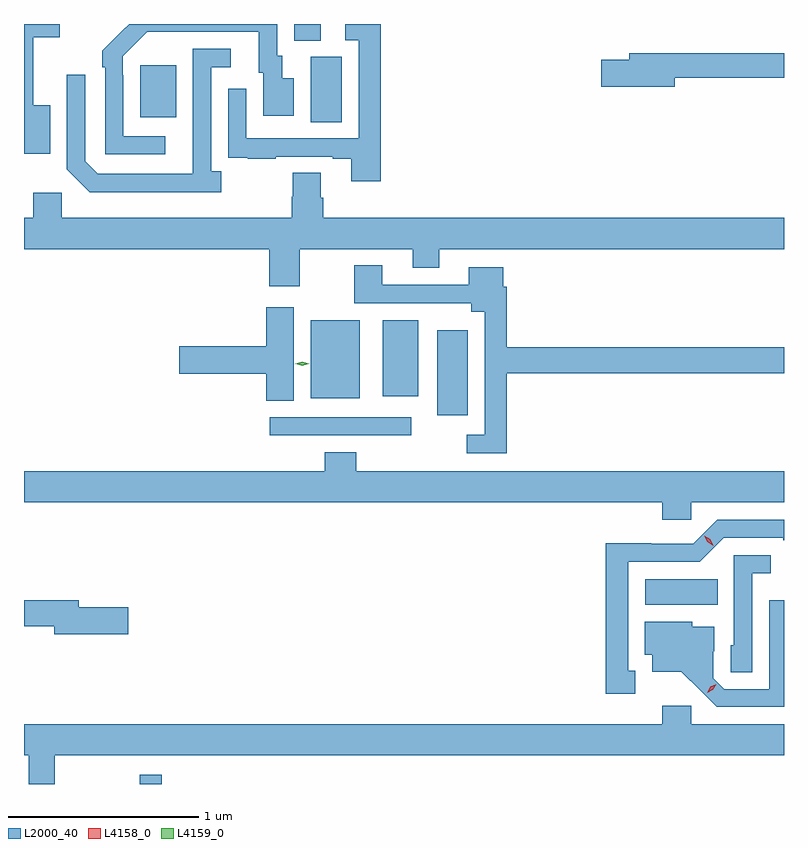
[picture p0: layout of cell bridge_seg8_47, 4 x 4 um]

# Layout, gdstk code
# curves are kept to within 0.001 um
import gdstk
lib = gdstk.Library(unit=1e-6, precision=1e-09)
def R(c, l, rs):  # rectangles x0, y0, x1, y1
    for r in rs: c.add(gdstk.rectangle(r[:2], r[2:], *l))
def P(c, l, *ps):  # polygons
    for p in ps: c.add(gdstk.Polygon(p, *l))
L2000_40 = (2000, 40)
L4158_0 = (4158, 0)
L4159_0 = (4159, 0)

bridge_seg8_47 = lib.new_cell('bridge_seg8_47')
R(bridge_seg8_47, L2000_40, [(1036.257,1105.693,1036.373,1105.741), (1038.918,1106.636,1039.298,1106.77), (1036.941,1107.528,1037.686,1107.624), (1037.822,1107.633,1037.983,1108.081), (1037.156,1107.722,1037.413,1108.135), (1037.534,1107.734,1037.722,1108.135), (1037.156,1109.176,1037.32,1109.52), (1036.259,1109.201,1036.447,1109.476), (1037.069,1109.605,1037.209,1109.693)])
P(bridge_seg8_47, L2000_40, [(1036.39,1109.103),(1036.17,1109.103),(1036.17,1109.423),(1036.167,1109.423),(1036.167,1109.523),(1036.296,1109.652),(1036.883,1109.652),(1036.883,1109.436),(1036.907,1109.436),(1036.907,1109.211),(1037.068,1109.211),(1037.068,1109.407),(1037.005,1109.407),(1037.005,1109.526),(1036.98,1109.526),(1036.98,1109.693),(1036.201,1109.693),(1036.165,1109.657),(1036.164,1109.658),(1036.059,1109.553),(1036.059,1109.465),(1036.074,1109.465),(1036.074,1109.007),(1036.39,1109.007)],
  [(1037.525,1109.693),(1037.337,1109.693),(1037.337,1109.607),(1037.409,1109.607),(1037.409,1109.091),(1036.818,1109.091),(1036.818,1109.353),(1036.722,1109.353),(1036.722,1109.098),(1036.723,1109.098),(1036.723,1108.989),(1036.825,1108.989),(1036.825,1108.983),(1036.973,1108.983),(1036.973,1108.995),(1037.273,1108.995),(1037.273,1108.983),(1037.369,1108.983),(1037.369,1108.866),(1037.525,1108.866)],
  [(1035.784,1109.266),(1035.695,1109.266),(1035.695,1109.622),(1035.835,1109.622),(1035.835,1109.693),(1035.647,1109.693),(1035.647,1109.009),(1035.784,1109.009)],
  [(1036.684,1108.918),(1036.632,1108.918),(1036.632,1109.466),(1036.735,1109.466),(1036.735,1109.562),(1036.536,1109.562),(1036.535,1108.905),(1036.035,1108.905),(1035.969,1108.971),(1035.969,1109.425),(1035.873,1109.425),(1035.873,1108.929),(1035.994,1108.808),(1036.684,1108.808)],
  [(1039.072,1109.41),(1039.647,1109.41),(1039.647,1109.539),(1038.833,1109.539),(1038.833,1109.505),(1038.684,1109.505),(1038.684,1109.363),(1039.072,1109.363)],
  [(1037.097,1108.508),(1037.693,1108.508),(1037.693,1108.409),(1037.833,1108.409),(1037.833,1108.508),(1039.647,1108.508),(1039.647,1108.672),(1037.222,1108.672),(1037.222,1108.778),(1037.209,1108.778),(1037.209,1108.91),(1037.062,1108.91),(1037.062,1108.785),(1037.057,1108.785),(1037.057,1108.672),(1035.846,1108.672),(1035.846,1108.804),(1035.695,1108.804),(1035.695,1108.672),(1035.647,1108.672),(1035.647,1108.508),(1036.937,1108.508),(1036.937,1108.314),(1037.097,1108.314)],
  [(1038.188,1107.856),(1039.647,1107.856),(1039.647,1107.992),(1038.188,1107.992),(1038.188,1108.31),(1038.169,1108.31),(1038.169,1108.414),(1037.987,1108.414),(1037.987,1108.32),(1037.533,1108.32),(1037.533,1108.423),(1037.386,1108.423),(1037.386,1108.224),(1038.002,1108.224),(1038.002,1108.178),(1038.072,1108.178),(1038.072,1107.531),(1037.978,1107.531),(1037.978,1107.435),(1038.188,1107.435)],
  [(1037.068,1108.201),(1036.922,1108.201),(1036.922,1107.998),(1036.464,1107.998),(1036.464,1107.851),(1036.922,1107.851),(1036.922,1107.709),(1037.068,1107.709)],
  [(1039.158,1107.176),(1039.647,1107.176),(1039.647,1107.34),(1037.396,1107.34),(1037.396,1107.439),(1037.231,1107.439),(1037.231,1107.34),(1035.647,1107.34),(1035.647,1107.176),(1039.007,1107.176),(1039.007,1107.083),(1039.158,1107.083)],
  [(1038.865,1106.289),(1038.826,1106.289),(1038.826,1106.862),(1039.203,1106.862),(1039.329,1106.988),(1039.643,1106.988),(1039.643,1106.976),(1039.647,1106.976),(1039.647,1107.084),(1039.296,1107.084),(1039.17,1106.958),(1038.948,1106.958),(1038.948,1106.96),(1038.708,1106.96),(1038.708,1106.169),(1038.865,1106.169)],
  [(1039.479,1106.801),(1039.576,1106.801),(1039.576,1106.898),(1039.383,1106.898),(1039.383,1106.424),(1039.368,1106.424),(1039.368,1106.281),(1039.479,1106.281)],
  [(1039.647,1106.66),(1039.569,1106.66),(1039.569,1106.193),(1039.332,1106.193),(1039.275,1106.25),(1039.275,1106.392),(1039.279,1106.392),(1039.279,1106.521),(1039.164,1106.521),(1039.164,1106.548),(1038.914,1106.548),(1038.914,1106.372),(1038.953,1106.372),(1038.953,1106.285),(1039.105,1106.285),(1039.292,1106.1),(1039.647,1106.1)],
  [(1036.195,1106.624),(1035.934,1106.624),(1035.934,1106.66),(1035.647,1106.66),(1035.647,1106.524),(1035.806,1106.524),(1035.806,1106.482),(1036.195,1106.482)],
  [(1035.81,1105.844),(1039.647,1105.844),(1039.647,1106.008),(1039.158,1106.008),(1039.158,1106.104),(1039.007,1106.104),(1039.007,1106.008),(1035.647,1106.008),(1035.647,1105.844),(1035.671,1105.844),(1035.671,1105.693),(1035.81,1105.693)])
P(bridge_seg8_47, L4158_0, [(1039.242,1106.174),(1039.242,1106.174),(1039.259,1106.204),(1039.29,1106.218),(1039.29,1106.218),(1039.29,1106.218),(1039.273,1106.189),(1039.242,1106.174)],
  [(1039.275,1106.948),(1039.243,1106.967),(1039.226,1106.999),(1039.226,1107),(1039.226,1107),(1039.258,1106.98),(1039.275,1106.948),(1039.275,1106.948)])
P(bridge_seg8_47, L4159_0, [(1037.111,1107.895),(1037.074,1107.905),(1037.073,1107.905),(1037.074,1107.905),(1037.111,1107.915),(1037.148,1107.905),(1037.149,1107.905),(1037.148,1107.905)])

lib.write_gds('bridge_seg8_47.gds')
